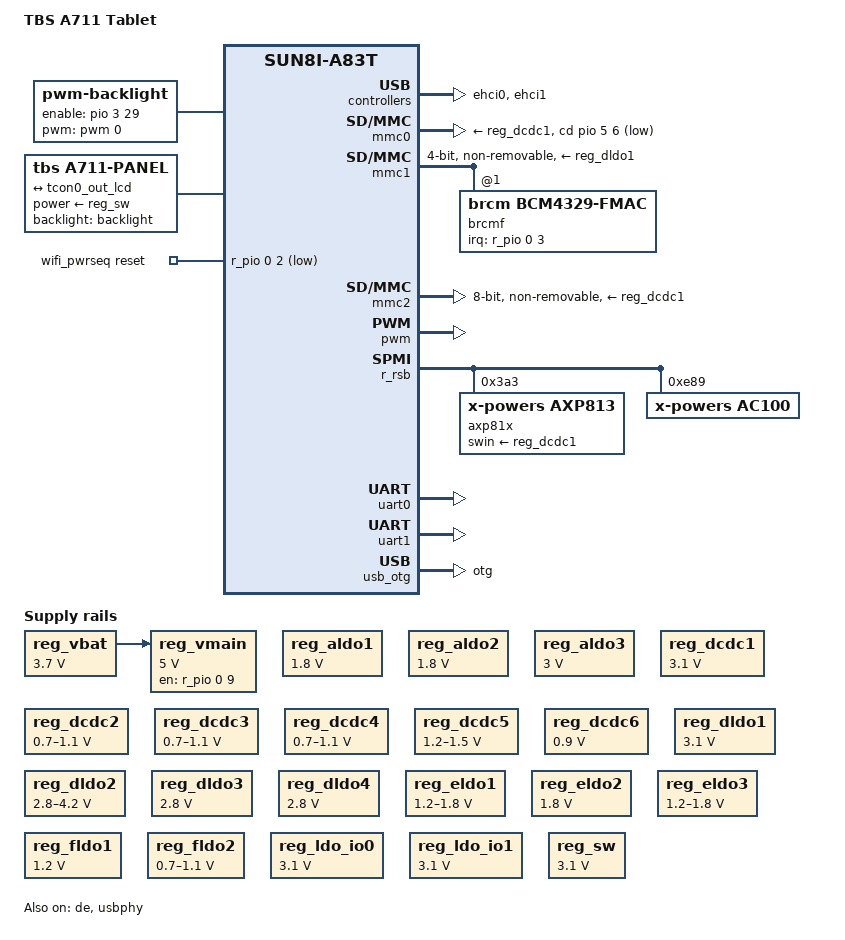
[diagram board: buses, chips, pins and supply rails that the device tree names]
/*
 * Copyright (C) 2017 Touchless Biometric Systems AG
 * Tomas Novotny <tomas@novotny.cz>
 *
 * This file is dual-licensed: you can use it either under the terms
 * of the GPL or the X11 license, at your option. Note that this dual
 * licensing only applies to this file, and not this project as a
 * whole.
 *
 *  a) This file is free software; you can redistribute it and/or
 *     modify it under the terms of the GNU General Public License as
 *     published by the Free Software Foundation; either version 2 of the
 *     License, or (at your option) any later version.
 *
 *     This file is distributed in the hope that it will be useful,
 *     but WITHOUT ANY WARRANTY; without even the implied warranty of
 *     MERCHANTABILITY or FITNESS FOR A PARTICULAR PURPOSE.  See the
 *     GNU General Public License for more details.
 *
 * Or, alternatively,
 *
 *  b) Permission is hereby granted, free of charge, to any person
 *     obtaining a copy of this software and associated documentation
 *     files (the "Software"), to deal in the Software without
 *     restriction, including without limitation the rights to use,
 *     copy, modify, merge, publish, distribute, sublicense, and/or
 *     sell copies of the Software, and to permit persons to whom the
 *     Software is furnished to do so, subject to the following
 *     conditions:
 *
 *     The above copyright notice and this permission notice shall be
 *     included in all copies or substantial portions of the Software.
 *
 *     THE SOFTWARE IS PROVIDED "AS IS", WITHOUT WARRANTY OF ANY KIND,
 *     EXPRESS OR IMPLIED, INCLUDING BUT NOT LIMITED TO THE WARRANTIES
 *     OF MERCHANTABILITY, FITNESS FOR A PARTICULAR PURPOSE AND
 *     NONINFRINGEMENT. IN NO EVENT SHALL THE AUTHORS OR COPYRIGHT
 *     HOLDERS BE LIABLE FOR ANY CLAIM, DAMAGES OR OTHER LIABILITY,
 *     WHETHER IN AN ACTION OF CONTRACT, TORT OR OTHERWISE, ARISING
 *     FROM, OUT OF OR IN CONNECTION WITH THE SOFTWARE OR THE USE OR
 *     OTHER DEALINGS IN THE SOFTWARE.
 */

/dts-v1/;
#include "sun8i-a83t.dtsi"

#include <dt-bindings/gpio/gpio.h>
#include <dt-bindings/pwm/pwm.h>

/ {
	model = "TBS A711 Tablet";
	compatible = "tbs-biometrics,a711", "allwinner,sun8i-a83t";

	aliases {
		serial0 = &uart0;
		serial1 = &uart1;
	};

	chosen {
		stdout-path = "serial0:115200n8";
	};

	backlight: backlight {
		compatible = "pwm-backlight";
		pwms = <&pwm 0 50000 PWM_POLARITY_INVERTED>;
		enable-gpios = <&pio 3 29 GPIO_ACTIVE_HIGH>;

		brightness-levels = <0 1 2 4 8 16 32 64 128 255>;
		default-brightness-level = <9>;
	};

	panel {
		compatible = "tbs,a711-panel", "panel-lvds";
		backlight = <&backlight>;
		power-supply = <&reg_sw>;

		width-mm = <153>;
		height-mm = <90>;
		data-mapping = "vesa-24";

		panel-timing {
			/* 1024x600 @60Hz */
			clock-frequency = <52000000>;
			hactive = <1024>;
			vactive = <600>;
			hsync-len = <20>;
			hfront-porch = <180>;
			hback-porch = <160>;
			vfront-porch = <12>;
			vback-porch = <23>;
			vsync-len = <5>;
		};

		port {
			panel_input: endpoint {
				remote-endpoint = <&tcon0_out_lcd>;
			};
		};
	};

	reg_vbat: reg-vbat {
		compatible = "regulator-fixed";
		regulator-name = "vbat";
		regulator-min-microvolt = <3700000>;
		regulator-max-microvolt = <3700000>;
	};

	reg_vmain: reg-vmain {
		compatible = "regulator-fixed";
		regulator-name = "vmain";
		regulator-min-microvolt = <5000000>;
		regulator-max-microvolt = <5000000>;
		gpio = <&r_pio 0 9 GPIO_ACTIVE_HIGH>;
		enable-active-high;
		vin-supply = <&reg_vbat>;
	};

	wifi_pwrseq: wifi_pwrseq {
		compatible = "mmc-pwrseq-simple";
		reset-gpios = <&r_pio 0 2 GPIO_ACTIVE_LOW>; /* PL2 WL-PMU-EN */

		/*
		 * This is actually Bluetooth's clock, but we have to
		 * hook it up somewheere
		 */
		clocks = <&ac100_rtc 1>;
		clock-names = "ext_clock";
	};
};

&de {
	status = "okay";
};

/*
 * An USB-2 hub is connected here, which also means we don't need to
 * enable the OHCI controller.
 */
&ehci0 {
	status = "okay";
};

/*
 * There's a modem connected here that needs to be initialised before
 * being able to be enumerated.
 */
&ehci1 {
	status = "okay";
};

&mmc0 {
	vmmc-supply = <&reg_dcdc1>;
	pinctrl-names = "default";
	pinctrl-0 = <&mmc0_pins>;
	cd-gpios = <&pio 5 6 GPIO_ACTIVE_LOW>;
	status = "okay";
};

&mmc1 {
	mmc-pwrseq = <&wifi_pwrseq>;
	bus-width = <4>;
	vmmc-supply = <&reg_dldo1>;
	vqmmc-supply = <&reg_dldo1>;
	non-removable;
	wakeup-source;
	status = "okay";

	brcmf: wifi@1 {
		reg = <1>;
		compatible = "brcm,bcm4329-fmac";
		interrupt-parent = <&r_pio>;
		interrupts = <0 3 IRQ_TYPE_LEVEL_LOW>; /* PL3 WL_WAKE_UP */
		interrupt-names = "host-wake";
	};
};

&mmc2 {
	pinctrl-0 = <&mmc2_8bit_emmc_pins>;
	pinctrl-names = "default";
	vmmc-supply = <&reg_dcdc1>;
	vqmmc-supply = <&reg_dcdc1>;
	bus-width = <8>;
	non-removable;
	cap-mmc-hw-reset;
	status = "okay";
};

&pwm {
	pinctrl-names = "default";
	pinctrl-0 = <&pwm_pin>;
	status = "okay";
};

&r_rsb {
	status = "okay";

	axp81x: pmic@3a3 {
		compatible = "x-powers,axp813";
		reg = <0x3a3>;
		interrupt-parent = <&r_intc>;
		interrupts = <0 IRQ_TYPE_LEVEL_LOW>;
		swin-supply = <&reg_dcdc1>;
		x-powers,drive-vbus-en;
	};

	ac100: codec@e89 {
		compatible = "x-powers,ac100";
		reg = <0xe89>;

		ac100_codec: codec {
			compatible = "x-powers,ac100-codec";
			interrupt-parent = <&r_pio>;
			interrupts = <0 12 IRQ_TYPE_LEVEL_LOW>; /* PL12 */
			#clock-cells = <0>;
			clock-output-names = "4M_adda";
		};

		ac100_rtc: rtc {
			compatible = "x-powers,ac100-rtc";
			interrupt-parent = <&r_intc>;
			interrupts = <0 IRQ_TYPE_LEVEL_LOW>;
			clocks = <&ac100_codec>;
			#clock-cells = <1>;
			clock-output-names = "cko1_rtc",
					     "cko2_rtc",
					     "cko3_rtc";
		};
	};

};

#include "axp81x.dtsi"

&reg_aldo1 {
	regulator-min-microvolt = <1800000>;
	regulator-max-microvolt = <1800000>;
	regulator-name = "vcc-1.8";
};

&reg_aldo2 {
	regulator-min-microvolt = <1800000>;
	regulator-max-microvolt = <1800000>;
	regulator-always-on;
	regulator-name = "vdd-drampll";
};

&reg_aldo3 {
	regulator-min-microvolt = <3000000>;
	regulator-max-microvolt = <3000000>;
	regulator-always-on;
	regulator-name = "avcc";
};

&reg_dcdc1 {
	regulator-min-microvolt = <3100000>;
	regulator-max-microvolt = <3100000>;
	regulator-always-on;
	regulator-name = "vcc-io";
};

&reg_dcdc2 {
	regulator-min-microvolt = <700000>;
	regulator-max-microvolt = <1100000>;
	regulator-always-on;
	regulator-name = "vdd-cpu-A";
};

&reg_dcdc3 {
	regulator-min-microvolt = <700000>;
	regulator-max-microvolt = <1100000>;
	regulator-always-on;
	regulator-name = "vdd-cpu-B";
};

&reg_dcdc4 {
	regulator-min-microvolt = <700000>;
	regulator-max-microvolt = <1100000>;
	regulator-name = "vdd-gpu";
};

&reg_dcdc5 {
	regulator-min-microvolt = <1200000>;
	regulator-max-microvolt = <1500000>;
	regulator-always-on;
	regulator-name = "vcc-dram";
};

&reg_dcdc6 {
	regulator-min-microvolt = <900000>;
	regulator-max-microvolt = <900000>;
	regulator-always-on;
	regulator-name = "vdd-sys";
};

&reg_dldo1 {
	regulator-min-microvolt = <3100000>;
	regulator-max-microvolt = <3100000>;
	regulator-name = "vcc-wifi-io";
};

&reg_dldo2 {
	regulator-min-microvolt = <2800000>;
	regulator-max-microvolt = <4200000>;
	regulator-name = "vcc-mipi";
};

&reg_dldo3 {
	regulator-min-microvolt = <2800000>;
	regulator-max-microvolt = <2800000>;
	regulator-name = "vdd-csi";
};

&reg_dldo4 {
	regulator-min-microvolt = <2800000>;
	regulator-max-microvolt = <2800000>;
	regulator-name = "avdd-csi";
};

&reg_drivevbus {
	regulator-name = "usb0-vbus";
	status = "okay";
};

&reg_eldo1 {
	regulator-min-microvolt = <1200000>;
	regulator-max-microvolt = <1800000>;
	regulator-name = "dvdd-csi-r";
};

&reg_eldo2 {
	regulator-min-microvolt = <1800000>;
	regulator-max-microvolt = <1800000>;
	regulator-name = "vcc-dsi";
};

&reg_eldo3 {
	regulator-min-microvolt = <1200000>;
	regulator-max-microvolt = <1800000>;
	regulator-name = "dvdd-csi-f";
};

&reg_fldo1 {
	regulator-min-microvolt = <1200000>;
	regulator-max-microvolt = <1200000>;
	regulator-name = "vcc-hsic";
};

&reg_fldo2 {
	regulator-min-microvolt = <700000>;
	regulator-max-microvolt = <1100000>;
	regulator-always-on;
	regulator-name = "vdd-cpus";
};

&reg_ldo_io0 {
	regulator-min-microvolt = <3100000>;
	regulator-max-microvolt = <3100000>;
	regulator-name = "vcc-ctp";
	status = "okay";
};

&reg_ldo_io1 {
	regulator-min-microvolt = <3100000>;
	regulator-max-microvolt = <3100000>;
	regulator-name = "vcc-vb";
	status = "okay";
};

&reg_sw {
	regulator-min-microvolt = <3100000>;
	regulator-max-microvolt = <3100000>;
	regulator-name = "vcc-lcd";
};

&tcon0 {
	pinctrl-names = "default";
	pinctrl-0 = <&lcd_lvds_pins>;
};

&tcon0_out {
	tcon0_out_lcd: endpoint@0 {
		reg = <0>;
		remote-endpoint = <&panel_input>;
	};
};

&uart0 {
	pinctrl-names = "default";
	pinctrl-0 = <&uart0_pb_pins>;
	status = "okay";
};

/* There's the BT part of the AP6210 connected to that UART */
&uart1 {
	pinctrl-names = "default";
	pinctrl-0 = <&uart1_pins>, <&uart1_rts_cts_pins>;
	status = "okay";
};

&usb_otg {
	dr_mode = "otg";
	status = "okay";
};

&usbphy {
	usb0_id_det-gpios = <&pio 7 11 GPIO_ACTIVE_HIGH>; /* PH11 */
	usb0_vbus-supply = <&reg_drivevbus>;
	usb1_vbus_supply = <&reg_vmain>;
	usb2_vbus_supply = <&reg_vmain>;
	status = "okay";
};
